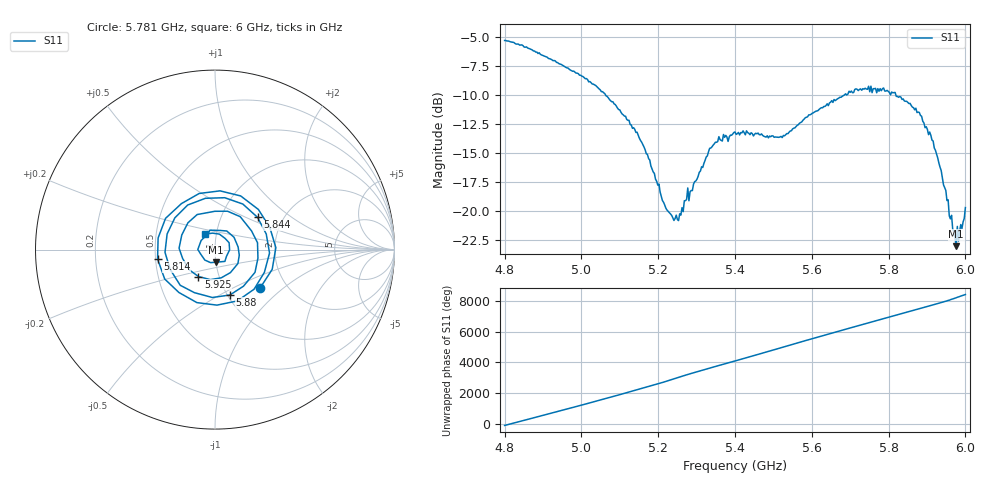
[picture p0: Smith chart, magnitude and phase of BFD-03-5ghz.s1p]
! NanoVNA-App
! Date: 2026-05-22 18:16:38
! Start: 4.8GHz Stop: 6GHz Points: 401
! S-Parameter data: F S11
# Hz S RI R 50
!  Frequency  S11_Real  S11_Imag
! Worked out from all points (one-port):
!   401 points, 4.8 GHz to 6 GHz, reference 50 ohm
!   lowest |S11| = -23.0 dB at 5.976 GHz (marker M1), VSWR 1.15, Z = 50 - j7.07 ohm
!   |S11| at or under -10 dB: 5.063 GHz to 5.684 GHz (621.2 MHz wide, 11.6 % of centre); 5.819 GHz to end of sweep
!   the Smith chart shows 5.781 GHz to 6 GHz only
!   S11 on the Smith chart (normalised r, x): 5.781 GHz: 1.46, -0.71; 5.814 GHz: 0.51, -0.06; 5.844 GHz: 1.48, +0.59; 5.88 GHz: 1.03, -0.56; 5.925 GHz: 0.80, -0.25; 6 GHz: 0.88, +0.15
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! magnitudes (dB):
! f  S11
! 4.8 GHz  -5.3
! 4.95 GHz  -7.4
! 5.037 GHz  -9.2
! 5.1 GHz  -11.3
! 5.16 GHz  -14.3
! 5.22 GHz  -19.8
! 5.238 GHz  -20.6
! 5.25 GHz  -20.7
! 5.259 GHz  -20.4
! 5.271 GHz  -19.1
! 5.337 GHz  -14.6
! 5.355 GHz  -14.0
! 5.4 GHz  -13.2
! 5.517 GHz  -13.6
! 5.55 GHz  -12.9
! 5.598 GHz  -11.7
! 5.7 GHz  -9.8
! 5.781 GHz  -9.6
! 5.814 GHz  -9.8
! 5.844 GHz  -10.5
! 5.85 GHz  -10.6
! 5.88 GHz  -11.5
! 5.913 GHz  -13.9
! 5.925 GHz  -15.1
! 5.97 GHz  -21.8
! 5.976 GHz  -23.0
! 5.988 GHz  -21.2
! 6 GHz  -19.7
